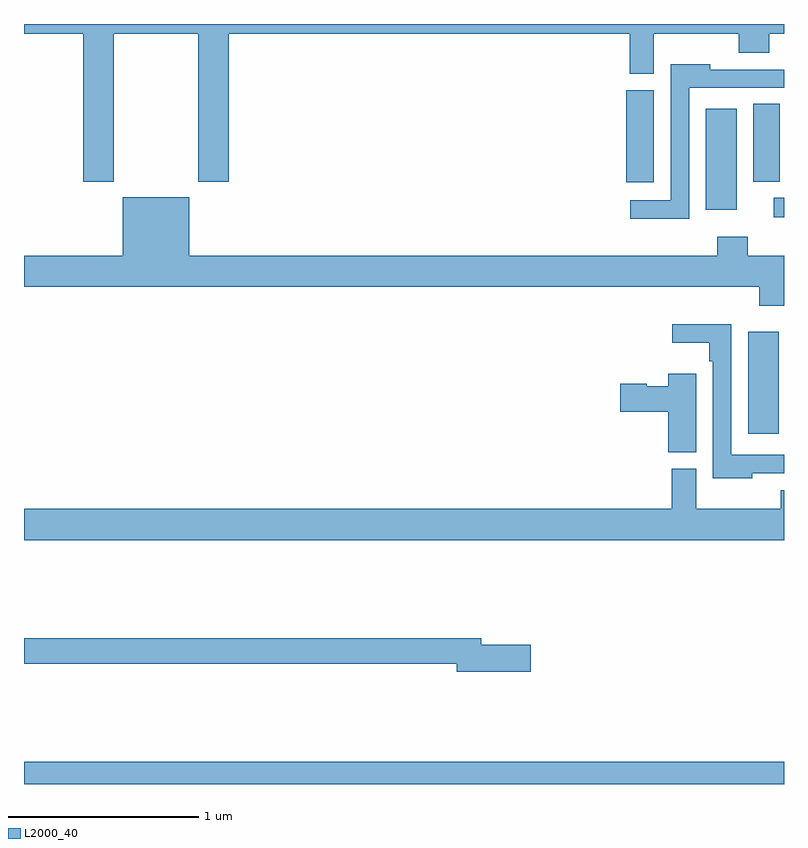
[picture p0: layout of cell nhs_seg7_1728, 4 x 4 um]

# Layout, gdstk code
import gdstk
lib = gdstk.Library(unit=1e-6, precision=1e-09)
def R(c, l, rs):  # rectangles x0, y0, x1, y1
    for r in rs: c.add(gdstk.rectangle(r[:2], r[2:], *l))
def P(c, l, *ps):  # polygons
    for p in ps: c.add(gdstk.Polygon(p, *l))
L2000_40 = (2000, 40)

nhs_seg7_1728 = lib.new_cell('nhs_seg7_1728')
R(nhs_seg7_1728, L2000_40, [(229,998,233,998.116), (232.811,999.843,232.972,1000.381), (232.947,1000.982,233,1001.086), (232.589,1001.022,232.75,1001.554), (232.169,1001.166,232.315,1001.652), (232.838,1001.171,232.978,1001.579)])
P(nhs_seg7_1728, L2000_40, [(229.473,1001.948),(229.918,1001.948),(229.918,1001.169),(230.078,1001.169),(230.078,1001.948),(232.187,1001.948),(232.187,1001.737),(232.315,1001.737),(232.315,1001.948),(232.762,1001.948),(232.762,1001.849),(232.922,1001.849),(232.922,1001.948),(233,1001.948),(233,1002),(229,1002),(229,1001.948),(229.313,1001.948),(229.313,1001.169),(229.473,1001.169)],
  [(232.5,1001.664),(233,1001.664),(233,1001.76),(232.611,1001.76),(232.611,1001.788),(232.404,1001.788),(232.404,1001.073),(232.191,1001.073),(232.191,1000.976),(232.5,1000.976)],
  [(233,1000.78),(232.809,1000.78),(232.809,1000.879),(232.649,1000.879),(232.649,1000.78),(229.87,1000.78),(229.87,1001.089),(229.52,1001.089),(229.52,1000.78),(229,1000.78),(229,1000.616),(232.871,1000.616),(232.871,1000.517),(233,1000.517)],
  [(232.833,999.636),(233,999.636),(233,999.732),(232.722,999.732),(232.722,1000.421),(232.413,1000.421),(232.413,1000.322),(232.606,1000.322),(232.606,1000.226),(232.626,1000.226),(232.626,999.608),(232.833,999.608)],
  [(232.537,1000.159),(232.391,1000.159),(232.391,1000.093),(232.278,1000.093),(232.278,1000.106),(232.137,1000.106),(232.137,999.959),(232.391,999.959),(232.391,999.745),(232.537,999.745)],
  [(233,999.547),(232.984,999.547),(232.984,999.448),(232.537,999.448),(232.537,999.66),(232.409,999.66),(232.409,999.448),(229,999.448),(229,999.284),(233,999.284)],
  [(231.667,998.732),(231.406,998.732),(231.406,998.768),(229,998.768),(229,998.632),(231.278,998.632),(231.278,998.59),(231.667,998.59)])

lib.write_gds('nhs_seg7_1728.gds')
